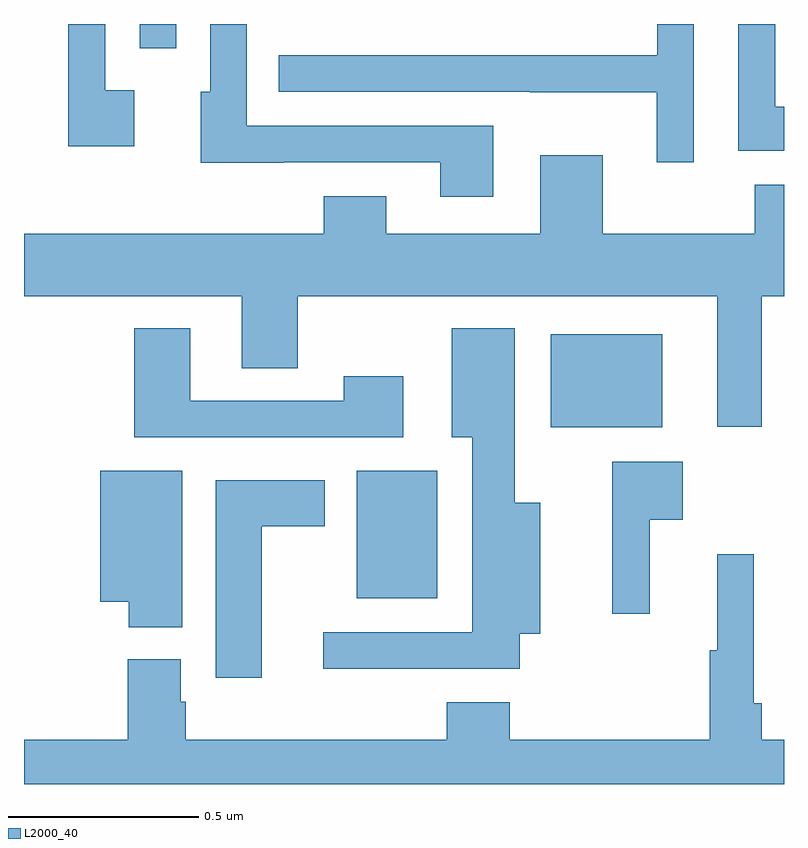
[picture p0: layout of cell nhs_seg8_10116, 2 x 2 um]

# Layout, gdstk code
import gdstk
lib = gdstk.Library(unit=1e-6, precision=1e-09)
def R(c, l, rs):  # rectangles x0, y0, x1, y1
    for r in rs: c.add(gdstk.rectangle(r[:2], r[2:], *l))
def P(c, l, *ps):  # polygons
    for p in ps: c.add(gdstk.Polygon(p, *l))
L2000_40 = (2000, 40)

nhs_seg8_10116 = lib.new_cell('nhs_seg8_10116')
R(nhs_seg8_10116, L2000_40, [(245.876,1098.389,246.088,1098.724), (246.386,1098.839,246.679,1099.084), (245.304,1099.836,245.4,1099.9)])
P(nhs_seg8_10116, L2000_40, [(246.235,1099.632),(245.586,1099.632),(245.586,1099.9),(245.49,1099.9),(245.49,1099.722),(245.465,1099.722),(245.465,1099.535),(245.683,1099.535),(245.683,1099.536),(246.095,1099.536),(246.095,1099.446),(246.235,1099.446)],
  [(247,1099.682),(246.977,1099.682),(246.977,1099.9),(246.879,1099.9),(246.879,1099.566),(247,1099.566)],
  [(245.29,1099.726),(245.214,1099.726),(245.214,1099.9),(245.117,1099.9),(245.117,1099.578),(245.29,1099.578)],
  [(246.762,1099.9),(246.666,1099.9),(246.666,1099.818),(245.671,1099.818),(245.671,1099.722),(246.331,1099.722),(246.331,1099.721),(246.665,1099.721),(246.665,1099.536),(246.762,1099.536)],
  [(246.941,1099.184),(247,1099.184),(247,1099.477),(246.923,1099.477),(246.923,1099.348),(246.523,1099.348),(246.523,1099.555),(246.359,1099.555),(246.359,1099.348),(245.953,1099.348),(245.953,1099.447),(245.789,1099.447),(245.789,1099.348),(245,1099.348),(245,1099.184),(245.573,1099.184),(245.573,1098.994),(245.721,1098.994),(245.721,1099.184),(246.824,1099.184),(246.824,1098.84),(246.941,1098.84)],
  [(245.998,1098.973),(245.842,1098.973),(245.842,1098.909),(245.437,1098.909),(245.437,1099.099),(245.29,1099.099),(245.29,1098.813),(245.998,1098.813)],
  [(246.305,1098.296),(246.358,1098.296),(246.358,1098.64),(246.292,1098.64),(246.292,1099.099),(246.125,1099.099),(246.125,1098.812),(246.179,1098.812),(246.179,1098.3),(245.787,1098.3),(245.787,1098.203),(246.305,1098.203)],
  [(246.647,1098.596),(246.733,1098.596),(246.733,1098.748),(246.548,1098.748),(246.548,1098.348),(246.647,1098.348)],
  [(245.416,1098.724),(245.201,1098.724),(245.201,1098.38),(245.275,1098.38),(245.275,1098.313),(245.416,1098.313)],
  [(245.626,1098.578),(245.791,1098.578),(245.791,1098.7),(245.504,1098.7),(245.504,1098.18),(245.626,1098.18)],
  [(247,1098.016),(246.941,1098.016),(246.941,1098.112),(246.921,1098.112),(246.921,1098.505),(246.824,1098.505),(246.824,1098.252),(246.805,1098.252),(246.805,1098.016),(246.278,1098.016),(246.278,1098.115),(246.113,1098.115),(246.113,1098.016),(245.426,1098.016),(245.426,1098.117),(245.413,1098.117),(245.413,1098.228),(245.273,1098.228),(245.273,1098.016),(245,1098.016),(245,1097.9),(247,1097.9)])

lib.write_gds('nhs_seg8_10116.gds')
